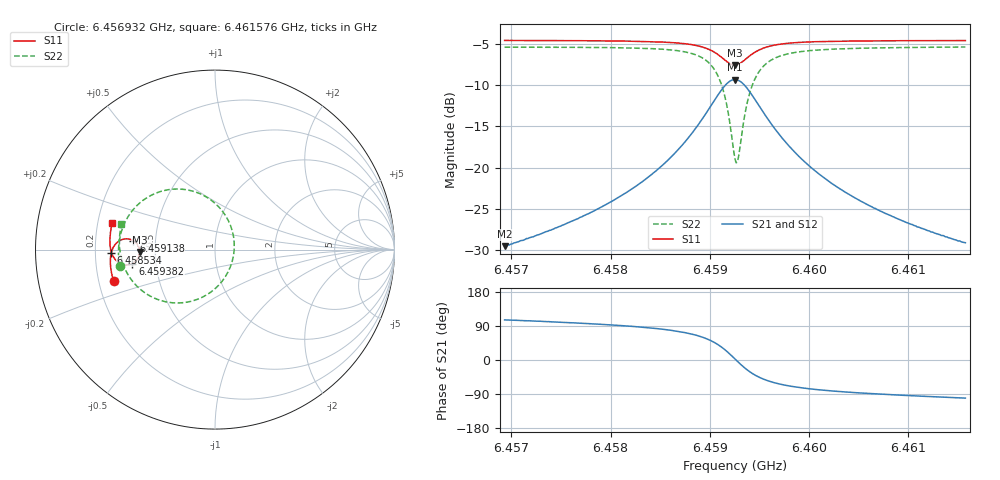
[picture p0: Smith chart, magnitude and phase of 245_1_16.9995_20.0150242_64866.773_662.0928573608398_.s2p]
#  HZ  S  RI  R  50.00
! Rohde & Schwarz Vector Network Analyzer
! Rohde-Schwarz,ZNB20-2Port,1311601062101988,3.16
! Created: UTC 3/20/2024, 11:03:02 PM
! freq[Hz]  re:S11  im:S11  re:S21  im:S21  re:S12  im:S12  re:S22  im:S22
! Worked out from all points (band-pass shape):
!   401 points, 6.456932 GHz to 6.461576 GHz, reference 50 ohm
!   highest |S21| = -9.30 dB at 6.459254 GHz (marker M1); lowest = -29.5 dB at 6.456932 GHz (marker M2)
!   |S21| within 3 dB of the highest: 6.459021 GHz to 6.459486 GHz (465.2 kHz wide, 0.0072 % of centre)
!   lowest |S11| = -7.5 dB at 6.459254 GHz (marker M3), VSWR 2.44, Z = 20.5 - j0.62 ohm
!   |S11| at or under -10 dB: nowhere
!   |S22| runs from -19.4 to -5.3 dB; largest |S21 - S12| = 0.013
!   S11 on the Smith chart (normalised r, x): 6.456932 GHz: 0.26, -0.14; 6.458534 GHz: 0.27, -0.01; 6.459138 GHz: 0.37, +0.05; 6.459382 GHz: 0.37, -0.07; 6.461576 GHz: 0.26, +0.12
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6.4569317e9  -0.5651 -0.1765  -0.00908 0.0321  -0.00743 0.0321  -0.5309 -0.0928
6.4577096e9  -0.5798 -0.1088  -0.00603 0.0499  -0.00349 0.0494  -0.5376 -0.00218
6.4581392e9  -0.5832 -0.066  -0.000223 0.0694  0.00296 0.068  -0.5301 0.0655
6.4584876e9  -0.5796 -0.0245  0.0133 0.098  0.0173 0.0955  -0.5057 0.1435
6.458534e9  -0.5783 -0.0182  0.0165 0.1035  0.0208 0.1006  -0.4994 0.1565
6.458743e9  -0.5662 0.0137  0.0424 0.1353  0.0466 0.1307  -0.4512 0.2283
6.458894e9  -0.5452 0.04  0.0848 0.1656  0.0881 0.1591  -0.3733 0.2929
6.4590449e9  -0.4992 0.0598  0.1761 0.1849  0.1771 0.1776  -0.2063 0.3375
6.4591378e9  -0.455 0.0499  0.2657 0.1543  0.266 0.1483  -0.0406 0.2885
6.4591843e9  -0.4339 0.0312  0.3093 0.1118  0.3104 0.1066  0.0421 0.2131
6.4592539e9  -0.4192 -0.0125  0.3424 0.0158  0.3462 0.00885  0.1072 0.0348
6.4592655e9  -0.4195 -0.0205  0.3425 -0.00192  0.3462 -0.00929  0.107 0.00146
6.4592888e9  -0.423 -0.036  0.337 -0.0363  0.3409 -0.0452  0.0962 -0.064
6.4593817e9  -0.4602 -0.0779  0.2674 -0.1367  0.2666 -0.1498  -0.0442 -0.2508
6.4594281e9  -0.483 -0.0847  0.2235 -0.1593  0.2197 -0.172  -0.1324 -0.2878
6.4594862e9  -0.5078 -0.084  0.1745 -0.1687  0.1682 -0.1796  -0.2289 -0.2968
6.4596371e9  -0.5489 -0.0624  0.0917 -0.1528  0.0836 -0.1586  -0.386 -0.2441
6.4597997e9  -0.5693 -0.035  0.0495 -0.1256  0.0422 -0.1281  -0.4616 -0.1736
6.4600319e9  -0.581 -0.00125  0.0227 -0.0962  0.0169 -0.0969  -0.5062 -0.0965
6.4603454e9  -0.5856 0.0361  0.00754 -0.0717  0.00344 -0.0713  -0.5269 -0.0243
6.4608098e9  -0.5838 0.0829  -0.00118 -0.0514  -0.00402 -0.0506  -0.5326 0.0505
6.4615762e9  -0.5717 0.1507  -0.00643 -0.0344  -0.00802 -0.0334  -0.5218 0.1408
